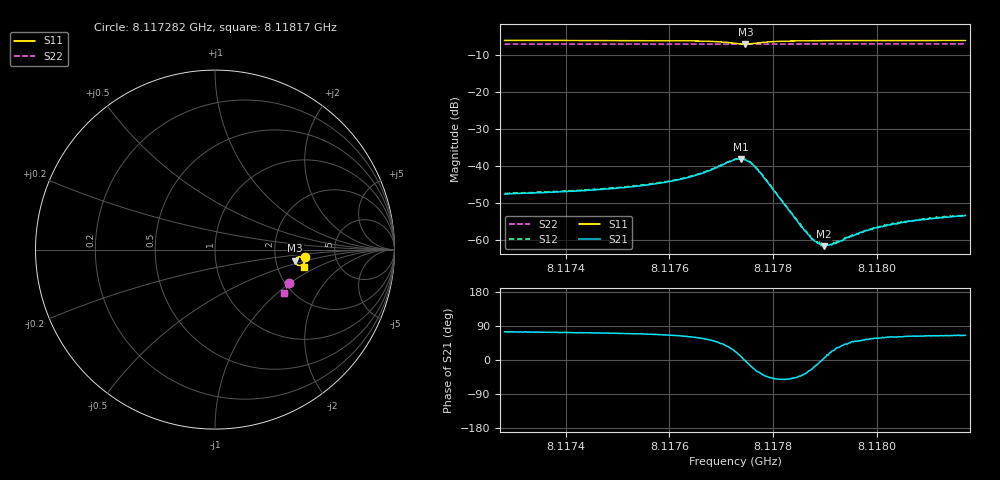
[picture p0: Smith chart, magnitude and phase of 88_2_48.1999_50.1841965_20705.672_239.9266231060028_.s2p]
#  HZ  S  RI  R  50.00
! Rohde & Schwarz Vector Network Analyzer
! Rohde-Schwarz,ZNB20-2Port,1311601062101988,3.16
! Created: UTC 3/20/2024, 11:39:58 AM
! freq[Hz]  re:S11  im:S11  re:S21  im:S21  re:S12  im:S12  re:S22  im:S22
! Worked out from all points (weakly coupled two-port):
!   401 points, 8.117282 GHz to 8.11817 GHz, reference 50 ohm
!   highest |S21| = -38.09 dB at 8.117737 GHz (marker M1); lowest = -61.8 dB at 8.117897 GHz (marker M2)
!   lowest |S11| = -6.9 dB at 8.117746 GHz (marker M3), VSWR 2.65, Z = 129 - j19.7 ohm
!   |S11| at or under -10 dB: nowhere
!   |S22| runs from -6.9 to -6.9 dB; largest |S21 - S12| = 0.00037
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8.1172824e9  0.5041 -0.0393  0.00111 0.00399  0.00121 0.0041  0.4104 -0.1882
8.1174311e9  0.5022 -0.0525  0.00142 0.00442  0.00151 0.00446  0.4064 -0.1977
8.1175221e9  0.5003 -0.0616  0.00181 0.00486  0.0019 0.00493  0.4037 -0.2036
8.1175798e9  0.4982 -0.0684  0.00228 0.00536  0.00236 0.00547  0.4018 -0.2073
8.1176109e9  0.4961 -0.0728  0.00272 0.00574  0.00281 0.00583  0.4008 -0.2093
8.1176553e9  0.4905 -0.0806  0.00396 0.00651  0.00414 0.0066  0.3993 -0.2124
8.1177263e9  0.4555 -0.0825  0.0114 0.00472  0.0114 0.0047  0.3956 -0.2162
8.1177374e9  0.4486 -0.072  0.0123 0.00206  0.0126 0.00203  0.3952 -0.2164
8.1177463e9  0.4474 -0.0607  0.012 -0.000499  0.0124 -0.000548  0.3949 -0.2164
8.1177596e9  0.4553 -0.046  0.00988 -0.00345  0.01 -0.00371  0.3952 -0.2167
8.1177752e9  0.4699 -0.0397  0.00665 -0.00466  0.00661 -0.00474  0.3953 -0.2172
8.1178573e9  0.4967 -0.0592  0.00111 -0.000906  0.00112 -0.000915  0.3937 -0.2235
8.1178706e9  0.4974 -0.0618  0.00098 -0.000515  0.000995 -0.000549  0.3935 -0.2242
8.117875e9  0.4977 -0.0626  0.00092 -0.000395  0.000935 -0.000405  0.3932 -0.2248
8.1178861e9  0.498 -0.0645  0.000894 -0.00016  0.000869 -0.000181  0.3928 -0.2254
8.1178972e9  0.4982 -0.0663  0.000812 5.24e-05  0.000838 7.12e-05  0.3926 -0.2261
8.117915e9  0.4985 -0.0689  0.000797 0.000358  0.000798 0.00037  0.392 -0.2274
8.1179527e9  0.4985 -0.0737  0.000742 0.000852  0.000789 0.000852  0.3907 -0.2298
8.1179949e9  0.4981 -0.0786  0.00077 0.00122  0.000783 0.0012  0.3894 -0.2323
8.1180237e9  0.498 -0.0815  0.000771 0.00138  0.000843 0.0014  0.3884 -0.2341
8.1180637e9  0.4974 -0.0855  0.000831 0.00158  0.000851 0.00162  0.3871 -0.2367
8.1181702e9  0.496 -0.0947  0.000897 0.00192  0.000927 0.00197  0.3833 -0.2434
